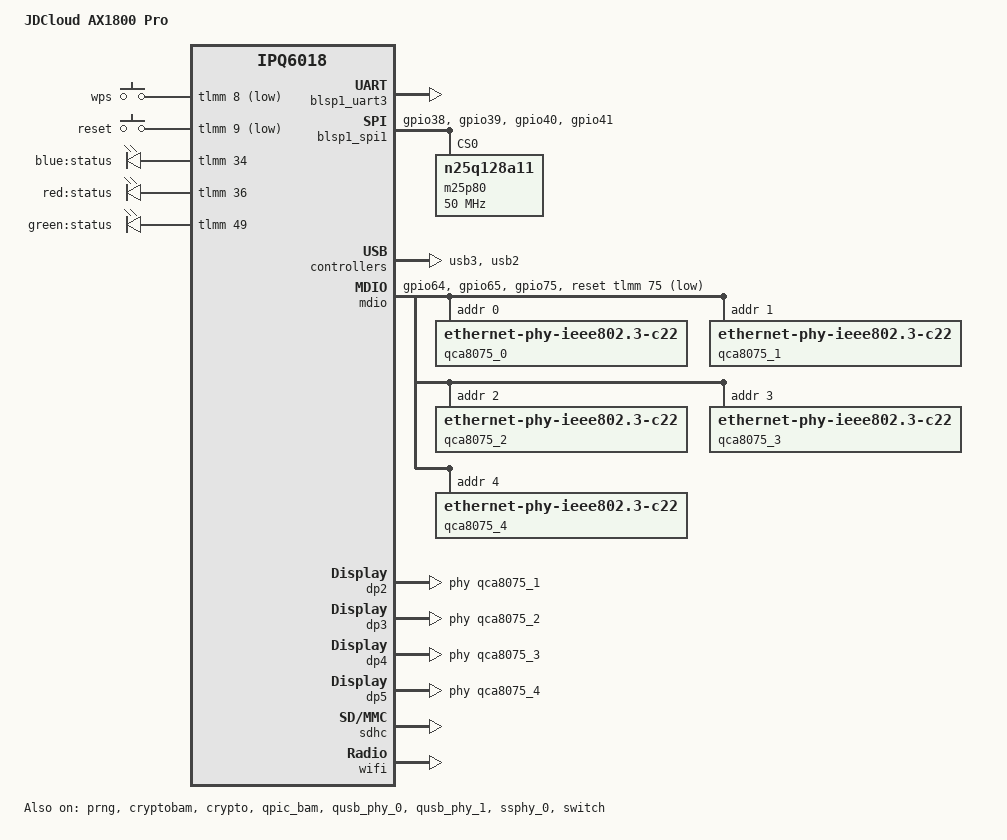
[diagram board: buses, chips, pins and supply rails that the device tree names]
/dts-v1/;
/*
 * Copyright (c) 2019, The Linux Foundation. All rights reserved.
 *
 * Permission to use, copy, modify, and/or distribute this software for any
 * purpose with or without fee is hereby granted, provided that the above
 * copyright notice and this permission notice appear in all copies.
 *
 * THE SOFTWARE IS PROVIDED "AS IS" AND THE AUTHOR DISCLAIMS ALL WARRANTIES
 * WITH REGARD TO THIS SOFTWARE INCLUDING ALL IMPLIED WARRANTIES OF
 * MERCHANTABILITY AND FITNESS. IN NO EVENT SHALL THE AUTHOR BE LIABLE FOR
 * ANY SPECIAL, DIRECT, INDIRECT, OR CONSEQUENTIAL DAMAGES OR ANY DAMAGES
 * WHATSOEVER RESULTING FROM LOSS OF USE, DATA OR PROFITS, WHETHER IN AN
 * ACTION OF CONTRACT, NEGLIGENCE OR OTHER TORTIOUS ACTION, ARISING OUT OF
 * OR IN CONNECTION WITH THE USE OR PERFORMANCE OF THIS SOFTWARE.
 */

#include "ipq6018-512m.dtsi"
#include "ipq6018-ess.dtsi"

#include <dt-bindings/gpio/gpio.h>
#include <dt-bindings/input/input.h>

/ {
	model = "JDCloud AX1800 Pro";
	compatible = "jdc,ax1800-pro", "qcom,ipq6018-cp03", "qcom,ipq6018";

	aliases {
		sdhc1 = &sdhc;
		serial0 = &blsp1_uart3;
		led-boot = &status_red;
		led-failsafe = &status_red;
		led-running = &status_green;
		led-upgrade = &status_green;
		label-mac-device = &dp2;
		
		ethernet1 = &dp2;
		ethernet2 = &dp3;
		ethernet3 = &dp4;
		ethernet4 = &dp5;
	};

	chosen {
		bootargs-append = " rootfstype=squashfs,ext4 swiotlb=1 coherent_pool=2M";
	};

	gpio_keys {
		compatible = "gpio-keys";
		pinctrl-0 = <&button_pins>;
		pinctrl-names = "default";

		wps {
			label = "wps";
			linux,code = <KEY_WPS_BUTTON>;
			gpios = <&tlmm 8 GPIO_ACTIVE_LOW>;
			linux,input-type = <EV_KEY>;
			debounce-interval = <60>;
		};

		reset {
			label = "reset";
			linux,code = <KEY_RESTART>;
			gpios = <&tlmm 9 GPIO_ACTIVE_LOW>;
			linux,input-type = <EV_KEY>;
			debounce-interval = <60>;
		};
	};

	leds {
		compatible = "gpio-leds";
		pinctrl-0 = <&leds_pins>;
		pinctrl-names = "default";

		status_blue: status_blue {
			label = "blue:status";
			gpios = <&tlmm 34 GPIO_ACTIVE_HIGH>;
		};

		status_red: status_red {
			label = "red:status";
			gpios = <&tlmm 36 GPIO_ACTIVE_HIGH>;
		};

		status_green: status_green {
			label = "green:status";
			gpios = <&tlmm 49 GPIO_ACTIVE_HIGH>;
		};
	};
};

&tlmm {
	compatible = "qcom,ipq6000-pinctrl";

	spi_1_pins: spi_1_pins {
		mux {
			pins = "gpio38","gpio39","gpio40","gpio41";
			function = "blsp0_spi";
			drive-strength = <0x08>;
			bias-pull-down;
		};
	};

	button_pins: button_pins {
		mux {
			pins = "gpio8", "gpio9";
			function = "gpio";
			drive-strength = <8>;
			bias-pull-up;
		};
	};

	leds_pins: leds_pins {
		mux {
			pins = "gpio34", "gpio36", "gpio49";
			function = "gpio";
			drive-strength = <8>;
			bias-pull-down;
		};
	};

	mdio_pinmux: mdio_pinmux {
		mux_0 {
			pins = "gpio64";
			function = "mdc";
			drive-strength = <0x08>;
			bias-pull-up;
		};

		mux_1 {
			pins = "gpio65";
			function = "mdio";
			drive-strength = <0x08>;
			bias-pull-up;
		};

		mux_2 {
			pins = "gpio75";
			function = "gpio";
		bias-pull-up;
		};
	};
};


&blsp1_uart3 {
	pinctrl-0 = <&serial_3_pins>;
	pinctrl-names = "default";
	status = "okay";
};

&blsp1_spi1 {
	pinctrl-0 = <&spi_1_pins>;
	pinctrl-names = "default";
	cs-select = <0>;
	status = "okay";

	m25p80@0 {
		#address-cells = <1>;
		#size-cells = <1>;
		reg = <0>;
		compatible = "n25q128a11";
		linux,modalias = "m25p80", "n25q128a11";
		spi-max-frequency = <50000000>;
		use-default-sizes;
	};
};

&prng {
	status = "okay";
};

&cryptobam {
	status = "okay";
};

&crypto {
	status = "okay";
};

&qpic_bam {
	status = "okay";
};

&qusb_phy_0 {
	status = "okay";
};

&qusb_phy_1 {
	status = "okay";
};


&ssphy_0 {
	status = "okay";
};

&usb3 {
	status = "okay";
};

&usb2 {
	status = "okay";
};

&edma {
	status = "okay";
};

&rpm {
	status = "disabled";
};

&mdio {
	status = "okay";

	pinctrl-0 = <&mdio_pinmux>;
	pinctrl-names = "default";
	reset-gpios = <&tlmm 75 GPIO_ACTIVE_LOW>;

	qca8075_0: ethernet-phy@0 {
		compatible = "ethernet-phy-ieee802.3-c22";
		reg = <0>;
	};

	qca8075_1: ethernet-phy@1 {
		compatible = "ethernet-phy-ieee802.3-c22";
		reg = <1>;
	};

	qca8075_2: ethernet-phy@2 {
		compatible = "ethernet-phy-ieee802.3-c22";
		reg = <2>;
	};

	qca8075_3: ethernet-phy@3 {
		compatible = "ethernet-phy-ieee802.3-c22";
		reg = <3>;
	};
	
	qca8075_4: ethernet-phy@4 {
		compatible = "ethernet-phy-ieee802.3-c22";
		reg = <4>;
	};
};

&switch {
	status = "okay";

	switch_cpu_bmp = <0x1>;  /* cpu port bitmap */
	switch_lan_bmp = <0x1e>; /* lan port bitmap */
	switch_wan_bmp = <0x20>; /* wan port bitmap */
	switch_inner_bmp = <0xc0>; /*inner port bitmap*/
	switch_mac_mode = <0x0>; /* mac mode for uniphy 0*/
	switch_mac_mode1 = <0xff>; /* mac mode for uniphy 1*/
	switch_mac_mode2 = <0xff>; /* mac mode for uniphy 2*/

	qcom,port_phyinfo {
		port@4 {
			port_id = <1>;
			phy_address = <0>;
		};
		port@0 {
			port_id = <2>;
			phy_address = <1>;
		};
		port@1 {
			port_id = <3>;
			phy_address = <2>;
		};
		port@2 {
			port_id = <4>;
			phy_address = <3>;
		};
		port@3 {
			port_id = <5>;
			phy_address = <4>;
		};
	};
};

&dp2 {
	phy-handle = <&qca8075_1>;
	status = "okay";
	label = "lan1";
};

&dp3 {
	phy-handle = <&qca8075_2>;
	status = "okay";
	label = "lan2";
};

&dp4 {
	phy-handle = <&qca8075_3>;
	status = "okay";
	label = "lan3";
};

&dp5 {
	phy-handle = <&qca8075_4>;
	status = "okay";
	label = "wan";
};

&sdhc {
	status = "okay";
	/delete-property/ vqmmc-supply;
	/delete-property/ mmc-hs400-1_8v;
	mmc-hs200-1_8v;
	mmc-ddr-1_8v;
};

&wifi {
	status = "okay";
	qcom,ath11k-calibration-variant = "JDC-AX1800-Pro";
	qcom,ath11k-fw-memory-mode = <1>;
};

&CPU0 {
	/delete-property/ cpu-supply;
};

&CPU1 {
	/delete-property/ cpu-supply;
};

&CPU2 {
	/delete-property/ cpu-supply;
};

&CPU3 {
	/delete-property/ cpu-supply;
};
